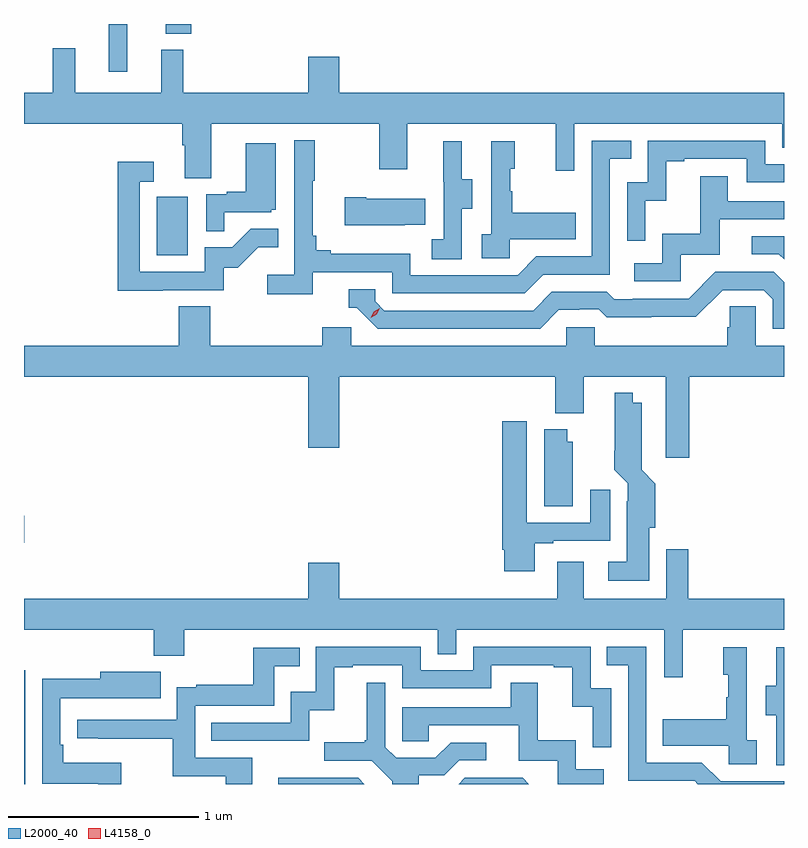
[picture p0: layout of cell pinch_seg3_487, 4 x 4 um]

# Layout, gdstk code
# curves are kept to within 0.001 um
import gdstk
lib = gdstk.Library(unit=1e-6, precision=1e-09)
def R(c, l, rs):  # rectangles x0, y0, x1, y1
    for r in rs: c.add(gdstk.rectangle(r[:2], r[2:], *l))
def P(c, l, *ps):  # polygons
    for p in ps: c.add(gdstk.Polygon(p, *l))
L2000_40 = (2000, 40)
L4158_0 = (4158, 0)

pinch_seg3_487 = lib.new_cell('pinch_seg3_487')
R(pinch_seg3_487, L2000_40, [(1014.66,669.469,1014.667,670.069), (1014.66,670.738,1014.661,670.88), (1015.358,672.252,1015.522,672.559), (1015.106,673.218,1015.203,673.469), (1015.406,673.418,1015.541,673.469)])
P(pinch_seg3_487, L2000_40, [(1015.493,672.832),(1015.505,672.832),(1015.505,672.658),(1015.645,672.658),(1015.645,672.944),(1016.53,672.944),(1016.53,672.705),(1016.677,672.705),(1016.677,672.944),(1017.458,672.944),(1017.458,672.696),(1017.555,672.696),(1017.555,672.944),(1018.65,672.944),(1018.65,672.817),(1018.66,672.817),(1018.66,673.108),(1016.32,673.108),(1016.32,673.297),(1016.156,673.297),(1016.156,673.108),(1015.499,673.108),(1015.499,673.333),(1015.382,673.333),(1015.382,673.108),(1014.929,673.108),(1014.929,673.342),(1014.811,673.342),(1014.811,673.108),(1014.66,673.108),(1014.66,672.944),(1015.493,672.944)],
  [(1016.18,672.162),(1016.598,672.162),(1016.598,672.051),(1017.295,672.051),(1017.394,672.15),(1017.744,672.15),(1017.744,672.759),(1017.857,672.759),(1017.857,672.855),(1017.648,672.855),(1017.648,672.246),(1017.357,672.246),(1017.258,672.147),(1016.694,672.147),(1016.694,672.259),(1016.275,672.259),(1016.275,672.278),(1016.198,672.278),(1016.198,672.355),(1016.179,672.355),(1016.179,672.643),(1016.191,672.643),(1016.191,672.856),(1016.082,672.856),(1016.082,672.148),(1015.941,672.148),(1015.941,672.046),(1016.18,672.046)],
  [(1017.93,672.539),(1018.04,672.539),(1018.04,672.747),(1018.135,672.747),(1018.135,672.759),(1018.464,672.759),(1018.464,672.636),(1018.66,672.636),(1018.66,672.732),(1018.56,672.732),(1018.56,672.855),(1017.942,672.855),(1017.942,672.636),(1017.834,672.636),(1017.834,672.327),(1017.93,672.327)],
  [(1016.964,672.496),(1017.019,672.496),(1017.019,672.651),(1016.965,672.651),(1016.965,672.853),(1016.867,672.853),(1016.867,672.639),(1016.868,672.639),(1016.868,672.335),(1016.805,672.335),(1016.805,672.232),(1016.964,672.232)],
  [(1017.216,672.335),(1017.563,672.335),(1017.563,672.475),(1017.229,672.475),(1017.229,672.59),(1017.219,672.59),(1017.219,672.708),(1017.244,672.708),(1017.244,672.853),(1017.12,672.853),(1017.12,672.362),(1017.069,672.362),(1017.069,672.237),(1017.216,672.237)],
  [(1015.715,672.477),(1015.962,672.477),(1015.962,672.492),(1015.984,672.492),(1015.984,672.841),(1015.826,672.841),(1015.826,672.586),(1015.727,672.586),(1015.727,672.573),(1015.62,672.573),(1015.62,672.379),(1015.715,672.379)],
  [(1015.391,672.069),(1015.71,672.069),(1015.71,672.186),(1015.786,672.186),(1015.893,672.293),(1015.997,672.293),(1015.997,672.392),(1015.853,672.392),(1015.755,672.294),(1015.611,672.294),(1015.611,672.165),(1015.269,672.165),(1015.269,672.639),(1015.342,672.639),(1015.342,672.745),(1015.153,672.745),(1015.153,672.064),(1015.391,672.064)],
  [(1018.116,672.255),(1018.321,672.255),(1018.321,672.441),(1018.66,672.441),(1018.66,672.537),(1018.363,672.537),(1018.363,672.667),(1018.219,672.667),(1018.219,672.364),(1018.02,672.364),(1018.02,672.21),(1017.873,672.21),(1017.873,672.114),(1018.116,672.114)],
  [(1016.663,672.413),(1016.771,672.413),(1016.771,672.55),(1016.461,672.55),(1016.461,672.558),(1016.349,672.558),(1016.349,672.41),(1016.663,672.41)],
  [(1018.66,672.351),(1018.491,672.351),(1018.491,672.258),(1018.632,672.258),(1018.66,672.23)],
  [(1017.475,671.964),(1017.582,671.964),(1017.582,671.967),(1017.685,671.967),(1017.727,671.925),(1017.96,671.925),(1017.96,671.927),(1018.196,671.927),(1018.338,672.069),(1018.554,672.069),(1018.602,672.021),(1018.602,671.865),(1018.66,671.865),(1018.66,672.11),(1018.605,672.165),(1018.299,672.165),(1018.158,672.024),(1017.865,672.024),(1017.865,672.021),(1017.766,672.021),(1017.727,672.06),(1017.438,672.06),(1017.339,671.961),(1016.556,671.961),(1016.508,672.009),(1016.508,672.072),(1016.369,672.072),(1016.369,671.976),(1016.412,671.976),(1016.523,671.865),(1017.376,671.865)],
  [(1018.16,671.612),(1018.66,671.612),(1018.66,671.776),(1018.512,671.776),(1018.512,671.984),(1018.375,671.984),(1018.375,671.874),(1018.361,671.874),(1018.361,671.776),(1017.663,671.776),(1017.663,671.874),(1017.513,671.874),(1017.513,671.776),(1016.382,671.776),(1016.382,671.874),(1016.231,671.874),(1016.231,671.776),(1015.64,671.776),(1015.64,671.984),(1015.475,671.984),(1015.475,671.776),(1014.66,671.776),(1014.66,671.612),(1016.156,671.612),(1016.156,671.238),(1016.32,671.238),(1016.32,671.612),(1017.455,671.612),(1017.455,671.42),(1017.607,671.42),(1017.607,671.612),(1018.037,671.612),(1018.037,671.187),(1018.16,671.187)],
  [(1017.952,670.818),(1017.983,670.818),(1017.983,671.05),(1017.911,671.122),(1017.91,671.476),(1017.865,671.476),(1017.865,671.527),(1017.768,671.527),(1017.767,671.122),(1017.837,671.052),(1017.837,670.958),(1017.833,670.958),(1017.833,670.639),(1017.735,670.639),(1017.735,670.538),(1017.952,670.538)],
  [(1017.349,670.737),(1017.445,670.737),(1017.445,670.749),(1017.745,670.749),(1017.745,671.017),(1017.641,671.017),(1017.641,670.845),(1017.307,670.845),(1017.307,671.377),(1017.176,671.377),(1017.176,670.702),(1017.188,670.702),(1017.188,670.59),(1017.349,670.59)],
  [(1017.547,671.271),(1017.52,671.271),(1017.52,671.335),(1017.398,671.335),(1017.398,670.93),(1017.547,670.93)],
  [(1016.32,670.633),(1016.156,670.633),(1016.156,670.444),(1014.66,670.444),(1014.66,670.28),(1015.343,670.28),(1015.343,670.145),(1015.503,670.145),(1015.503,670.28),(1016.838,670.28),(1016.838,670.153),(1016.934,670.153),(1016.934,670.28),(1018.029,670.28),(1018.029,670.032),(1018.127,670.032),(1018.127,670.28),(1018.66,670.28),(1018.66,670.444),(1018.157,670.444),(1018.157,670.705),(1018.041,670.705),(1018.041,670.444),(1017.607,670.444),(1017.607,670.639),(1017.467,670.639),(1017.467,670.444),(1016.32,670.444)],
  [(1018.66,669.483),(1018.326,669.483),(1018.227,669.582),(1017.936,669.582),(1017.936,670.191),(1017.727,670.191),(1017.727,670.095),(1017.84,670.095),(1017.84,669.486),(1018.19,669.486),(1018.207,669.469),(1018.66,669.469)],
  [(1017.75,669.972),(1017.642,669.972),(1017.642,670.191),(1017.024,670.191),(1017.024,670.068),(1016.748,670.068),(1016.748,670.191),(1016.196,670.191),(1016.196,669.955),(1016.064,669.955),(1016.064,669.792),(1015.645,669.792),(1015.645,669.696),(1016.16,669.696),(1016.16,669.857),(1016.293,669.857),(1016.293,670.083),(1016.389,670.083),(1016.389,670.095),(1016.652,670.095),(1016.652,669.972),(1017.12,669.972),(1017.12,670.095),(1017.449,670.095),(1017.449,670.083),(1017.545,670.083),(1017.545,669.875),(1017.654,669.875),(1017.654,669.663),(1017.75,669.663)],
  [(1018.516,669.698),(1018.464,669.698),(1018.464,670.189),(1018.34,670.189),(1018.34,670.044),(1018.366,670.044),(1018.366,669.926),(1018.356,669.926),(1018.356,669.811),(1018.021,669.811),(1018.021,669.671),(1018.368,669.671),(1018.368,669.573),(1018.516,669.573)],
  [(1018.66,670.189),(1018.619,670.189),(1018.619,669.987),(1018.565,669.987),(1018.565,669.832),(1018.62,669.832),(1018.62,669.568),(1018.66,669.568)],
  [(1015.861,669.606),(1015.56,669.606),(1015.56,669.882),(1015.977,669.882),(1015.977,670.088),(1016.111,670.088),(1016.111,670.185),(1015.866,670.185),(1015.866,669.991),(1015.567,669.991),(1015.567,669.979),(1015.464,669.979),(1015.464,669.807),(1014.939,669.807),(1014.939,669.711),(1015.051,669.711),(1015.051,669.706),(1015.444,669.706),(1015.444,669.51),(1015.721,669.51),(1015.721,669.469),(1015.861,669.469)],
  [(1015.171,669.58),(1014.866,669.58),(1014.866,669.676),(1014.852,669.676),(1014.852,669.921),(1015.165,669.921),(1015.165,669.92),(1015.379,669.92),(1015.379,670.06),(1015.061,670.06),(1015.061,670.022),(1014.756,670.022),(1014.756,669.471),(1015.05,669.471),(1015.05,669.469),(1015.171,669.469)],
  [(1016.737,669.514),(1016.872,669.514),(1016.952,669.594),(1017.094,669.594),(1017.094,669.687),(1016.906,669.687),(1016.825,669.606),(1016.619,669.606),(1016.562,669.663),(1016.562,670.003),(1016.465,670.003),(1016.465,669.7),(1016.454,669.7),(1016.454,669.688),(1016.241,669.688),(1016.241,669.591),(1016.49,669.591),(1016.597,669.484),(1016.597,669.469),(1016.737,669.469)],
  [(1017.712,669.546),(1017.564,669.546),(1017.564,669.7),(1017.365,669.7),(1017.365,670.003),(1017.221,670.003),(1017.221,669.873),(1016.652,669.873),(1016.652,669.693),(1016.789,669.693),(1016.789,669.777),(1017.263,669.777),(1017.263,669.591),(1017.468,669.591),(1017.468,669.469),(1017.712,669.469)],
  [(1016.418,669.501),(1016.202,669.501),(1016.202,669.503),(1015.997,669.503),(1015.997,669.469),(1016.45,669.469)],
  [(1017.285,669.501),(1016.979,669.501),(1016.947,669.469),(1017.317,669.469)])
P(pinch_seg3_487, L4158_0, [(1016.485,671.923),(1016.485,671.923),(1016.502,671.955),(1016.533,671.974),(1016.533,671.974),(1016.533,671.974),(1016.516,671.941),(1016.486,671.923)])

lib.write_gds('pinch_seg3_487.gds')
